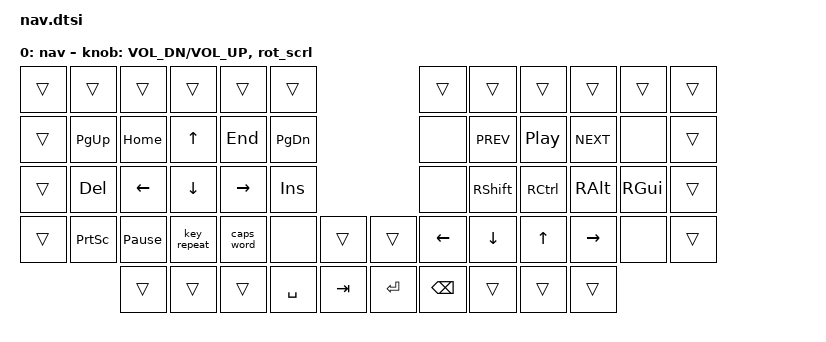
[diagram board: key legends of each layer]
/ {
    keymap {
        compatible = "zmk,keymap";
        
        nav {
            display-name = "nav";
            bindings = <
&trans         &trans         &trans          &trans         &trans          &trans                                     &trans          &trans          &trans        &trans          &trans            &trans
&trans         &kp PG_UP      &kp HOME        &kp UP         &kp END         &kp PG_DN                                  &none           &kp C_PREV      &kp C_PP      &kp C_NEXT      &none             &trans
&trans         &kp DEL        &kp LEFT        &kp DOWN       &kp RIGHT       &kp INS                                    &none           &kp RSHFT       &kp RCTRL     &kp RALT        &kp RGUI          &trans
&trans         &kp PSCRN      &kp PAUSE_BREAK &key_repeat    &caps_word      &none         &trans         &trans        &kp LEFT        &kp DOWN        &kp UP        &kp RIGHT       &none             &trans
                              &trans          &trans         &trans          &kp SPACE     &kp TAB        &kp RET       &kp BSPC        &trans          &trans        &trans 
            >;

            sensor-bindings = <&inc_dec_kp C_VOL_DN C_VOL_UP &rot_scrl>;
        };
    };
};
